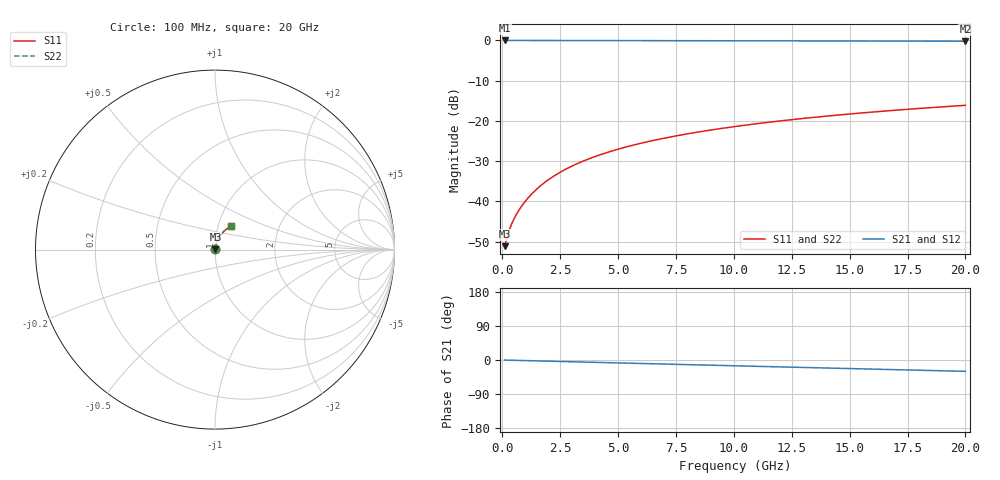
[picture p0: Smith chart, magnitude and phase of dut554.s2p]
! Touchstone file exported from HFSS 2026.1.0
!  File:  C:/ffzhzh/LocalFiles/Ansys_Project_Files/temp_train_BSMRDL_554_1783015213_53980.aedt
!  Generated:  02:01:33 AM Jul  3, 2026
!  Design:  BSMRDL
!  Project:  temp_train_BSMRDL_554_1783015213_53980
! Variables:
!  h_bsmrdl = 3.6um
!  h_ox = 20um
!  h_rdl = 5um
!  h_sub = 80um
!  h_tmrdl = 5um
!  h_tsv = 80um
!  h_via = 3um
!  l_bsmrdl = 496.66um
!  l_sub = 896.66um
!  l_tmrdl = 200um
!  m_sub = 200um
!  pitch = 31.44um
!  r_tsv = 6um
!  s_tmrdl = 10um
!  w_bsmrdl = 21.58um
!  w_sub = 500um
!  w_tmrdl = 12um
!  x_tsv_center1 = 206um
!  x_tsv_center2 = 724.24um
!  x_tsv_center3 = 936.24um
!  x_tsv_center4 = 1454.48um
!  x_tsv_center5 = 1666.48um
!  x_tsv_center6 = 2184.72um
# GHz S MA R 50.000000
! Terminal data exported
! Port[1] = BSM_RDL1_1_T1
! Port[2] = BSM_RDL1_1_T2
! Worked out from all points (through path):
!   200 points, 100 MHz to 20 GHz, reference 50 ohm
!   highest |S21| = -0.02 dB at 100 MHz (marker M1); lowest = -0.2 dB at 20 GHz (marker M2)
!   group delay of S21, straight-line fit = 4.15 ps
!   lowest |S11| = -51.2 dB at 100 MHz (marker M3), VSWR 1.01, Z = 50.3 + j0.119 ohm
!   |S11| at or under -10 dB: start of sweep to end of sweep
!   |S22| runs from -51.2 to -16.1 dB; largest |S21 - S12| = 4.4e-15
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0.1  0.002767 25.4  0.9975 -0.2  0.9975 -0.2  0.002767 25.4
! Gamma 0 0 0 0
! Port Impedance 50 0 50 0
0.2  0.003525 40.2  0.9973 -0.3  0.9973 -0.3  0.003525 40.2
0.3  0.004365 48.2  0.9971 -0.5  0.9971 -0.5  0.004365 48.2
0.4  0.00519 53.3  0.9969 -0.7  0.9969 -0.7  0.005189 53.3
0.5  0.005995 57.1  0.9968 -0.8  0.9968 -0.8  0.005994 57.1
0.6  0.006795 60.1  0.9967 -1.0  0.9967 -1.0  0.006794 60.1
0.8  0.008406 64.6  0.9965 -1.3  0.9965 -1.3  0.008405 64.6
1  0.01005 67.8  0.9964 -1.6  0.9964 -1.6  0.01005 67.8
1.2  0.01173 70.2  0.9963 -1.9  0.9963 -1.9  0.01172 70.2
1.7  0.016 73.6  0.9961 -2.7  0.9961 -2.7  0.016 73.6
2.2  0.02034 75.3  0.9958 -3.4  0.9958 -3.4  0.02034 75.3
2.8  0.02556 76.1  0.9954 -4.4  0.9954 -4.4  0.02556 76.1
3.5  0.03163 76.2  0.9949 -5.4  0.9949 -5.4  0.03163 76.2
4.2  0.03764 75.9  0.9943 -6.5  0.9943 -6.5  0.03764 75.9
5  0.04441 75.2  0.9936 -7.7  0.9936 -7.7  0.04441 75.2
5.9  0.05192 74.3  0.9927 -9.1  0.9927 -9.1  0.05191 74.3
6.8  0.05929 73.2  0.9917 -10.4  0.9917 -10.4  0.05929 73.2
8.3  0.07131 71.3  0.99 -12.7  0.99 -12.7  0.07131 71.4
10.1  0.08533 69.0  0.988 -15.4  0.988 -15.4  0.08533 69.0
13.4  0.1101 64.6  0.9841 -20.3  0.9841 -20.3  0.1101 64.7
16.7  0.1336 60.2  0.9801 -25.1  0.9801 -25.1  0.1336 60.3
20  0.1558 55.7  0.9759 -29.9  0.9759 -29.9  0.1558 55.8
